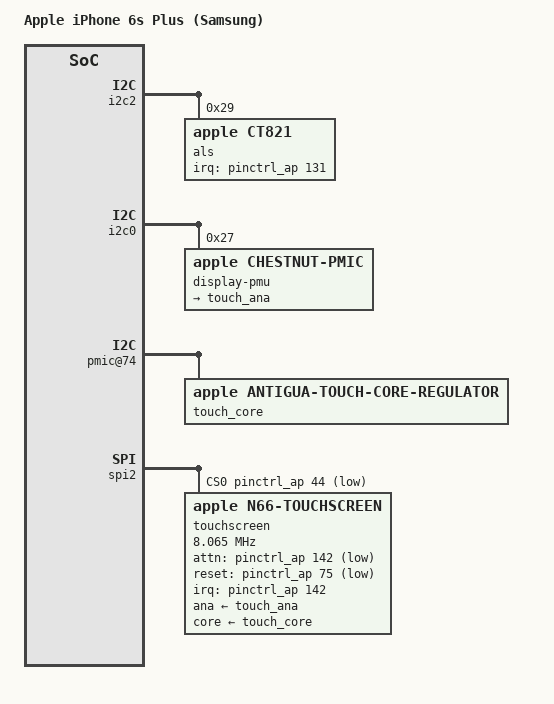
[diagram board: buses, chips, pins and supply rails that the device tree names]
// SPDX-License-Identifier: GPL-2.0+ OR MIT
/*
 * Apple iPhone 6s Plus (Samsung), N66, iPhone8,2 (A1634/A1687/A1690/A1699)
 * Copyright (c) 2022, Konrad Dybcio <konradybcio@kernel.org>
 */

/dts-v1/;

#include "s8000.dtsi"
#include "s800x-6s.dtsi"

/ {
	compatible = "apple,n66", "apple,s8000", "apple,arm-platform";
	model = "Apple iPhone 6s Plus (Samsung)";

	aliases {
		als0 = &als;	/* the loader copies the ADT's alsCalibration here */
		spi2 = &spi2;
		touchscreen0 = &touchscreen;	/* the loader copies the ADT calibration */
	};
};

&i2c2 {
	status = "okay";

	/* ADT i2c2/als: als,ct821 @0x29, interrupt AP GPIO 131 */
	als: light-sensor@29 {
		compatible = "apple,ct821", "amstaos,tsl2581";
		reg = <0x29>;
		interrupts-extended = <&pinctrl_ap 131 IRQ_TYPE_LEVEL_LOW>;
	};
};



&i2c0 {
	/* ADT display-pmu,chestnut @0x27: touch power_ana = dpLE(0x302) */
	display-pmu@27 {
		compatible = "apple,chestnut-pmic";
		reg = <0x27>;

		touch_ana: regulator-touch-hv {
			compatible = "apple,chestnut-touch-hv-regulator";
			regulator-name = "touch-analog";
		};
	};
};

&{/soc/i2c@20a110000/pmic@74} {
	/* ADT multi-touch power_ldo = pmuL(0x219) */
	touch_core: regulator-touch-core {
		compatible = "apple,antigua-touch-core-regulator";
		regulator-name = "touch-core";
	};
};

/* ADT /arm-io/spi2/multi-touch: multi-touch,n66 */
&spi2 {
	cs-gpios = <&pinctrl_ap 44 GPIO_ACTIVE_LOW>;	/* function-enable_cs */
	status = "okay";

	touchscreen: touchscreen@0 {
		compatible = "apple,n66-touchscreen";
		reg = <0>;
		spi-max-frequency = <8064516>;		/* ADT 124 ns bit period */
		interrupts-extended = <&pinctrl_ap 142 IRQ_TYPE_EDGE_FALLING>;
		attn-gpios = <&pinctrl_ap 142 GPIO_ACTIVE_LOW>;
		reset-gpios = <&pinctrl_ap 75 GPIO_ACTIVE_LOW>;	/* function-reset */
		ana-supply = <&touch_ana>;
		core-supply = <&touch_core>;
		clocks = <&touchclk>;
		firmware-name = "apple/n66-fwstart.z2fw";
		touchscreen-size-x = <1080>;
		touchscreen-size-y = <1920>;
		touchscreen-inverted-y;
	};
};

&touchclk {
	status = "okay";
};
